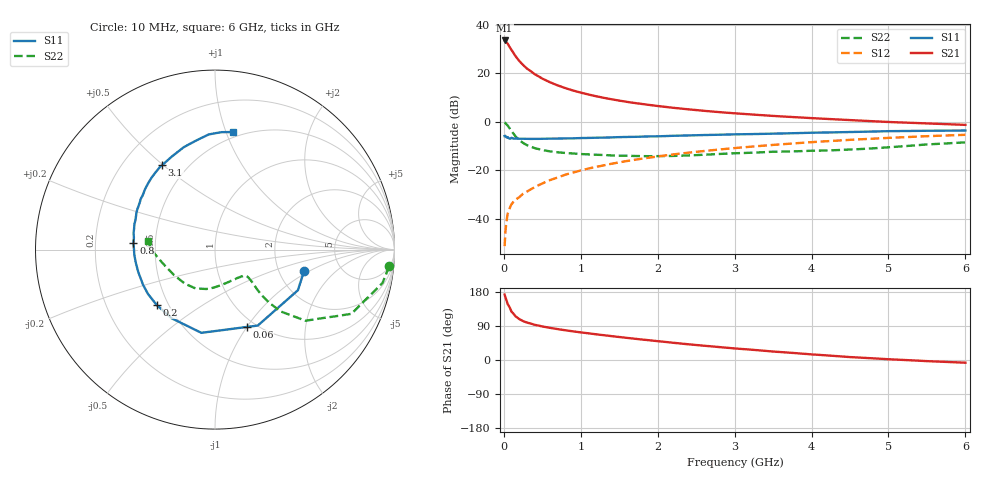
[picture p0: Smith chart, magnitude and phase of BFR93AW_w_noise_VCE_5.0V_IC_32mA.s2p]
! Infineon Technologies  Discrete & RF Semiconductors
! BFR93AW
! VCE =  5.0 V,  IC =  32 mA
! Common Emitter S-Parameters:  Jan 2017
# GHz  S  MA  R  50
!  f  S11  S21  S12  S22
! GHz  MAG  ANG  MAG  ANG  MAG  ANG  MAG  ANG
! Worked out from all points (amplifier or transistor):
!   77 points, 10 MHz to 6 GHz, reference 50 ohm
!   highest |S21| = 33.7 dB at 10 MHz (marker M1)
!   |S21| within 3 dB of that: start of sweep to 80.94 MHz
!   unconditionally stable (mu >= 1): 574.8 MHz to 2.05 GHz
!   at 130 MHz: K = 0.53, MSG = 30.6 dB, |S12| = -32.9 dB
!   at 2.2 GHz: K = 0.99, MSG = 9.6 dB, |S12| = -13.5 dB
!   at 6 GHz: K = 0.88, MSG = 2.1 dB, |S12| = -5.3 dB
!   lowest NFmin = 1.86 dB at 450 MHz
!   S11 on the Smith chart (normalised r, x): 10 MHz: 2.77, -0.88; 60 MHz: 0.91, -1.00; 200 MHz: 0.43, -0.33; 800 MHz: 0.37, +0.03; 3.1 GHz: 0.36, +0.50; 6 GHz: 0.45, +1.06
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0.01  0.5106 -13.2  48.14 172.5  0.0027 88.4  0.9752 -5.5
0.02  0.5145 -26.1  47.55 165.8  0.0052 86.9  0.9518 -11.2
0.05  0.4857 -60.6  41.25 147.4  0.0127 67.2  0.8402 -25.2
0.06  0.4656 -67.8  38.79 144.3  0.0141 65.7  0.7976 -27.3
0.1  0.4699 -99.3  30.52 127.2  0.0199 61.8  0.641 -38.2
0.15  0.4526 -122.3  23.02 115.5  0.0246 58.1  0.504 -43.2
0.2  0.4481 -136.6  18.19 108.1  0.0277 60.5  0.421 -44.5
0.25  0.4477 -146.5  14.99 102.6  0.0327 60.6  0.3675 -44.3
0.3  0.4463 -153.7  12.65 98.8  0.0362 62.2  0.3303 -43.6
0.4  0.4455 -163.5  9.708 92.9  0.0446 65.6  0.2869 -41.8
0.5  0.4472 -170.5  7.833 88.5  0.0534 67.7  0.2619 -40.6
0.6  0.4503 -176.1  6.588 84.8  0.0626 68.8  0.2457 -40.0
0.7  0.4518 179.3  5.671 81.6  0.071 69.9  0.2352 -39.9
0.8  0.4559 175.4  4.988 78.4  0.0811 70.5  0.2278 -40.4
0.9  0.4566 171.7  4.442 75.6  0.0898 70.3  0.222 -41.4
1.1  0.4659 165.4  3.677 70.4  0.1086 70.0  0.2129 -44.2
1.5  0.484 154.7  2.75 60.7  0.1458 68.4  0.2003 -53.0
2.1  0.5089 141.2  2.041 47.7  0.2025 64.1  0.1966 -72.4
3.1  0.5551 122.1  1.466 29.0  0.2966 55.1  0.2269 -105.2
4.1  0.6 105.4  1.173 13.5  0.3896 44.9  0.2544 -134.5
5.1  0.6448 91.7  0.981 1.1  0.4744 33.9  0.306 -167.2
6  0.6627 81.4  0.867 -7.2  0.5404 23.8  0.3779 173.0
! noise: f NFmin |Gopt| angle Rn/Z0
0.45  1.86  0.19  175  0.16
0.9  2.12  0.26  -174  0.16
1.9  3.16  0.51  -135  0.3
2.4  3.82  0.56  -124  0.57
